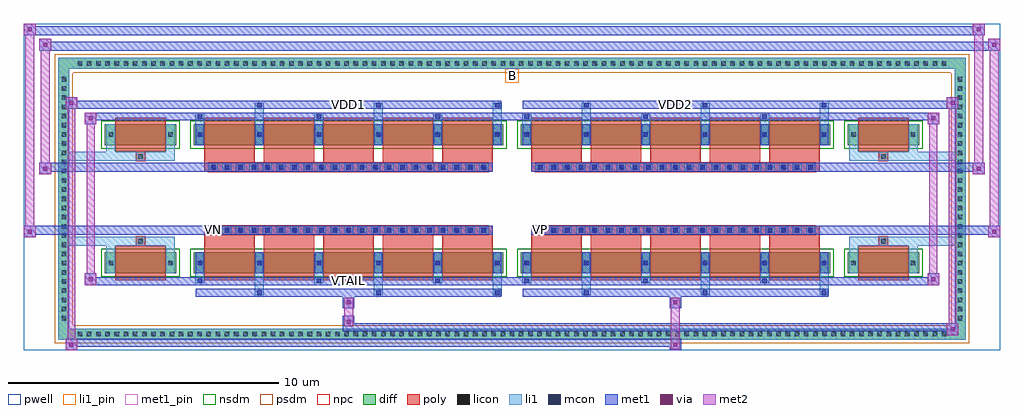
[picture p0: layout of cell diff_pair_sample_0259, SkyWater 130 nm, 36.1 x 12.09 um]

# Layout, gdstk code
import gdstk
lib = gdstk.Library(unit=1e-6, precision=5e-09)
def R(c, l, rs):  # rectangles x0, y0, x1, y1
    for r in rs: c.add(gdstk.rectangle(r[:2], r[2:], *l))
def A(c, l, x, y, w, h, nx, ny, dx, dy):  # array of equal rectangles
    R(c, l, [(x+i*dx, y+j*dy, x+i*dx+w, y+j*dy+h) for i in range(nx) for j in range(ny)])
def P(c, l, *ps):  # polygons
    for p in ps: c.add(gdstk.Polygon(p, *l))
pwell = (64, 44)
diff = (65, 20)
poly = (66, 20)
licon = (66, 44)
li1_pin = (67, 16)
li1 = (67, 20)
mcon = (67, 44)
met1_pin = (68, 16)
met1 = (68, 20)
via = (68, 44)
met2 = (69, 20)
nsdm = (93, 44)
psdm = (94, 20)
npc = (95, 20)

diff_pair_sample_0259 = lib.new_cell('diff_pair_sample_0259')
R(diff_pair_sample_0259, pwell, [(-18.05,-5.61,18.05,6.48), (-15.37,-3.8,-0.01,-0.8), (0.01,-3.8,15.37,-0.8), (-15.37,0.8,-0.01,3.8), (0.01,0.8,15.37,3.8)])
A(diff_pair_sample_0259, diff, -16.185, -5.21, 0.41, 0.41, 95, 2, 0.34, 10.01)
A(diff_pair_sample_0259, diff, -16.78, -4.625, 0.41, 0.41, 1, 27, 0, 0.34)
A(diff_pair_sample_0259, diff, 16.37, -4.625, 0.41, 0.41, 1, 27, 0, 0.34)
R(diff_pair_sample_0259, diff, [(-16.185,-5.21,16.185,-4.8), (-16.78,-4.625,-16.37,4.625), (16.37,-4.625,16.78,4.625), (-15.06,-2.755,-12.41,-1.985), (-11.77,-2.755,-0.32,-1.985), (0.32,-2.755,11.77,-1.985), (12.41,-2.755,15.06,-1.985), (-15.06,1.985,-12.41,2.755), (-11.77,1.985,-0.32,2.755), (0.32,1.985,11.77,2.755), (12.41,1.985,15.06,2.755), (-16.185,4.8,16.185,5.21)])
P(diff_pair_sample_0259, diff, [(16.78,5.21),(-16.78,5.21),(-16.78,-4.8),(-16.37,-4.8),(-16.37,4.8),(16.37,4.8),(16.37,-4.8),(-16.37,-4.8),(-16.78,-4.8),(-16.78,-5.21),(16.78,-5.21)])
A(diff_pair_sample_0259, poly, -11.38, -3.005, 1.87, 1.27, 5, 2, 2.2, 4.74)
A(diff_pair_sample_0259, poly, 0.71, -3.005, 1.87, 1.27, 5, 2, 2.2, 4.74)
A(diff_pair_sample_0259, poly, -11.38, -1.735, 1.87, 0.405, 5, 2, 2.2, 3.065)
A(diff_pair_sample_0259, poly, 0.71, -1.735, 1.87, 0.405, 5, 2, 2.2, 3.065)
A(diff_pair_sample_0259, poly, -11.21, -1.33, 0.33, 0.33, 21, 2, 0.5, 2.33)
A(diff_pair_sample_0259, poly, 0.88, -1.33, 0.33, 0.33, 21, 2, 0.5, 2.33)
R(diff_pair_sample_0259, poly, [(-14.67,-3.005,-12.8,-1.735), (12.8,-3.005,14.67,-1.735), (-13.9,-1.735,-13.57,-1.405), (-13.9,-1.735,-13.57,-1.405), (13.57,-1.735,13.9,-1.405), (13.57,-1.735,13.9,-1.405), (-11.38,-1.33,-0.71,-1), (0.71,-1.33,11.38,-1), (-11.38,1,-0.71,1.33), (0.71,1,11.38,1.33), (-13.9,1.405,-13.57,1.735), (-13.9,1.405,-13.57,1.735), (13.57,1.405,13.9,1.735), (13.57,1.405,13.9,1.735), (-14.67,1.735,-12.8,3.005), (12.8,1.735,14.67,3.005)])
A(diff_pair_sample_0259, licon, -16.065, -5.09, 0.17, 0.17, 95, 2, 0.34, 10.01)
A(diff_pair_sample_0259, licon, -16.66, -4.505, 0.17, 0.17, 1, 27, 0, 0.34)
A(diff_pair_sample_0259, licon, 16.49, -4.505, 0.17, 0.17, 1, 27, 0, 0.34)
A(diff_pair_sample_0259, licon, -11.63, -2.455, 0.17, 0.17, 6, 2, 2.2, 4.74)
A(diff_pair_sample_0259, licon, 0.46, -2.455, 0.17, 0.17, 6, 2, 2.2, 4.74)
A(diff_pair_sample_0259, licon, -11.13, -1.25, 0.17, 0.17, 21, 2, 0.5, 2.33)
A(diff_pair_sample_0259, licon, 0.96, -1.25, 0.17, 0.17, 21, 2, 0.5, 2.33)
R(diff_pair_sample_0259, licon, [(-14.92,-2.455,-14.75,-2.285), (-12.72,-2.455,-12.55,-2.285), (12.55,-2.455,12.72,-2.285), (14.75,-2.455,14.92,-2.285), (-13.82,-1.655,-13.65,-1.485), (13.65,-1.655,13.82,-1.485), (-13.82,1.485,-13.65,1.655), (13.65,1.485,13.82,1.655), (-14.92,2.285,-14.75,2.455), (-12.72,2.285,-12.55,2.455), (12.55,2.285,12.72,2.455), (14.75,2.285,14.92,2.455)])
R(diff_pair_sample_0259, li1_pin, [(-0.25,4.3,0.25,4.8)])
A(diff_pair_sample_0259, li1, -16.145, -5.17, 0.33, 0.33, 95, 2, 0.34, 10.01)
A(diff_pair_sample_0259, li1, -16.74, -4.585, 0.33, 0.33, 1, 27, 0, 0.34)
A(diff_pair_sample_0259, li1, 16.41, -4.585, 0.33, 0.33, 1, 27, 0, 0.34)
A(diff_pair_sample_0259, li1, -9.51, -3.56, 0.33, 0.805, 3, 2, 4.4, 6.315)
A(diff_pair_sample_0259, li1, -9.43, -3.56, 0.17, 0.17, 3, 2, 4.4, 6.95)
A(diff_pair_sample_0259, li1, 2.58, -3.56, 0.33, 0.805, 3, 2, 4.4, 6.315)
A(diff_pair_sample_0259, li1, 2.66, -3.56, 0.17, 0.17, 3, 2, 4.4, 6.95)
A(diff_pair_sample_0259, li1, -11.71, -3.13, 0.33, 0.375, 3, 2, 4.4, 5.885)
A(diff_pair_sample_0259, li1, -11.63, -3.13, 0.17, 0.17, 3, 2, 4.4, 6.09)
A(diff_pair_sample_0259, li1, 0.38, -3.13, 0.33, 0.375, 3, 2, 4.4, 5.885)
A(diff_pair_sample_0259, li1, 0.46, -3.13, 0.17, 0.17, 3, 2, 4.4, 6.09)
A(diff_pair_sample_0259, li1, -11.71, -2.755, 0.33, 0.77, 6, 2, 2.2, 4.74)
A(diff_pair_sample_0259, li1, 0.38, -2.755, 0.33, 0.77, 6, 2, 2.2, 4.74)
A(diff_pair_sample_0259, li1, -11.71, -2.535, 0.33, 0.33, 6, 2, 2.2, 4.74)
A(diff_pair_sample_0259, li1, 0.38, -2.535, 0.33, 0.33, 6, 2, 2.2, 4.74)
A(diff_pair_sample_0259, li1, -11.21, -1.33, 0.33, 0.33, 21, 2, 0.5, 2.33)
A(diff_pair_sample_0259, li1, 0.88, -1.33, 0.33, 0.33, 21, 2, 0.5, 2.33)
R(diff_pair_sample_0259, li1, [(-16.78,-5.21,-16.37,-4.8), (-16.78,-5.21,-16.37,-4.8), (-16.37,-5.21,16.37,-4.8), (16.37,-5.21,16.78,-4.8), (16.37,-5.21,16.78,-4.8), (-16.78,-4.8,-16.37,4.8), (16.37,-4.8,16.78,4.8), (-15,-2.755,-14.67,-1.985), (-12.8,-2.755,-12.47,-1.985), (12.47,-2.755,12.8,-1.985), (14.67,-2.755,15,-1.985), (-15,-2.535,-14.67,-2.205), (-12.8,-2.535,-12.47,-2.205), (12.47,-2.535,12.8,-2.205), (14.67,-2.535,15,-2.205), (-11.63,-2.455,-11.46,-2.285), (-11.63,-2.455,-11.46,-2.285), (-9.43,-2.455,-9.26,-2.285), (-9.43,-2.455,-9.26,-2.285), (-7.23,-2.455,-7.06,-2.285), (-7.23,-2.455,-7.06,-2.285), (-5.03,-2.455,-4.86,-2.285), (-5.03,-2.455,-4.86,-2.285), (-2.83,-2.455,-2.66,-2.285), (-2.83,-2.455,-2.66,-2.285), (-0.63,-2.455,-0.46,-2.285), (-0.63,-2.455,-0.46,-2.285), (0.46,-2.455,0.63,-2.285), (0.46,-2.455,0.63,-2.285), (2.66,-2.455,2.83,-2.285), (2.66,-2.455,2.83,-2.285), (4.86,-2.455,5.03,-2.285), (4.86,-2.455,5.03,-2.285), (7.06,-2.455,7.23,-2.285), (7.06,-2.455,7.23,-2.285), (9.26,-2.455,9.43,-2.285), (9.26,-2.455,9.43,-2.285), (11.46,-2.455,11.63,-2.285), (11.46,-2.455,11.63,-2.285), (-15,-1.985,-14.67,-1.405), (-12.8,-1.985,-12.47,-1.405), (12.47,-1.985,12.8,-1.405), (14.67,-1.985,15,-1.405), (-16.78,-1.735,-13.9,-1.405), (-15,-1.735,-13.9,-1.405), (-13.9,-1.735,-13.57,-1.405), (-13.57,-1.735,-12.47,-1.405), (12.47,-1.735,13.57,-1.405), (13.57,-1.735,13.9,-1.405), (13.57,-1.735,16.78,-1.405), (13.9,-1.735,15,-1.405), (-16.78,1.405,-13.9,1.735), (-15,1.405,-13.9,1.735), (-15,1.405,-14.67,1.985), (-13.9,1.405,-13.57,1.735), (-13.57,1.405,-12.47,1.735), (-12.8,1.405,-12.47,1.985), (12.47,1.405,13.57,1.735), (12.47,1.405,12.8,1.985), (13.57,1.405,13.9,1.735), (13.57,1.405,16.78,1.735), (13.9,1.405,15,1.735), (14.67,1.405,15,1.985), (-15,1.985,-14.67,2.755), (-12.8,1.985,-12.47,2.755), (12.47,1.985,12.8,2.755), (14.67,1.985,15,2.755), (-15,2.205,-14.67,2.535), (-12.8,2.205,-12.47,2.535), (12.47,2.205,12.8,2.535), (14.67,2.205,15,2.535), (-11.63,2.285,-11.46,2.455), (-11.63,2.285,-11.46,2.455), (-9.43,2.285,-9.26,2.455), (-9.43,2.285,-9.26,2.455), (-7.23,2.285,-7.06,2.455), (-7.23,2.285,-7.06,2.455), (-5.03,2.285,-4.86,2.455), (-5.03,2.285,-4.86,2.455), (-2.83,2.285,-2.66,2.455), (-2.83,2.285,-2.66,2.455), (-0.63,2.285,-0.46,2.455), (-0.63,2.285,-0.46,2.455), (0.46,2.285,0.63,2.455), (0.46,2.285,0.63,2.455), (2.66,2.285,2.83,2.455), (2.66,2.285,2.83,2.455), (4.86,2.285,5.03,2.455), (4.86,2.285,5.03,2.455), (7.06,2.285,7.23,2.455), (7.06,2.285,7.23,2.455), (9.26,2.285,9.43,2.455), (9.26,2.285,9.43,2.455), (11.46,2.285,11.63,2.455), (11.46,2.285,11.63,2.455), (-16.78,4.8,-16.37,5.21), (-16.78,4.8,-16.37,5.21), (-16.37,4.8,16.37,5.21), (16.37,4.8,16.78,5.21), (16.37,4.8,16.78,5.21)])
A(diff_pair_sample_0259, mcon, -9.43, -3.56, 0.17, 0.17, 3, 2, 4.4, 6.95)
A(diff_pair_sample_0259, mcon, 2.66, -3.56, 0.17, 0.17, 3, 2, 4.4, 6.95)
A(diff_pair_sample_0259, mcon, -11.63, -3.13, 0.17, 0.17, 3, 2, 4.4, 6.09)
A(diff_pair_sample_0259, mcon, 0.46, -3.13, 0.17, 0.17, 3, 2, 4.4, 6.09)
A(diff_pair_sample_0259, mcon, -11.63, -2.455, 0.17, 0.17, 6, 2, 2.2, 4.74)
A(diff_pair_sample_0259, mcon, 0.46, -2.455, 0.17, 0.17, 6, 2, 2.2, 4.74)
A(diff_pair_sample_0259, mcon, -11.13, -1.25, 0.17, 0.17, 21, 2, 0.5, 2.33)
A(diff_pair_sample_0259, mcon, 0.96, -1.25, 0.17, 0.17, 21, 2, 0.5, 2.33)
R(diff_pair_sample_0259, met1_pin, [(-6.18,-3.17,-5.91,-2.9), (-11.18,-1.29,-10.91,-1.02), (0.91,-1.29,1.18,-1.02), (-6.18,3.35,-5.91,3.62), (5.91,3.35,6.18,3.62)])
A(diff_pair_sample_0259, met1, -9.49, -3.62, 0.29, 0.29, 3, 2, 4.4, 6.95)
A(diff_pair_sample_0259, met1, 2.6, -3.62, 0.29, 0.29, 3, 2, 4.4, 6.95)
A(diff_pair_sample_0259, met1, -11.69, -3.19, 0.29, 0.29, 3, 2, 4.4, 6.09)
A(diff_pair_sample_0259, met1, 0.4, -3.19, 0.29, 0.29, 3, 2, 4.4, 6.09)
A(diff_pair_sample_0259, met1, -11.69, -2.755, 0.29, 0.77, 6, 2, 2.2, 4.74)
A(diff_pair_sample_0259, met1, 0.4, -2.755, 0.29, 0.77, 6, 2, 2.2, 4.74)
A(diff_pair_sample_0259, met1, -11.69, -2.515, 0.29, 0.29, 6, 2, 2.2, 4.74)
A(diff_pair_sample_0259, met1, 0.4, -2.515, 0.29, 0.29, 6, 2, 2.2, 4.74)
A(diff_pair_sample_0259, met1, -11.19, -1.31, 0.29, 0.29, 21, 2, 0.5, 2.33)
A(diff_pair_sample_0259, met1, 0.9, -1.31, 0.29, 0.29, 21, 2, 0.5, 2.33)
R(diff_pair_sample_0259, met1, [(-16.51,-5.61,-16.08,-5.18), (5.83,-5.61,6.26,-5.18), (-16.51,-5.47,6.26,-5.18), (16.08,-5.04,16.51,-4.61), (-6.26,-4.9,16.51,-4.61), (-6.26,-4.76,-5.83,-4.33), (-6.26,-4.05,-5.83,-3.62), (5.83,-4.05,6.26,-3.62), (-11.69,-3.62,-0.4,-3.33), (0.4,-3.62,11.69,-3.33), (-15.8,-3.19,-15.37,-2.76), (-15.8,-3.19,-11.69,-2.9), (-11.69,-3.19,-0.4,-2.9), (-0.4,-3.19,0.4,-2.9), (0.4,-3.19,11.69,-2.9), (11.69,-3.19,15.8,-2.9), (15.37,-3.19,15.8,-2.76), (-18.05,-1.43,-17.62,-1), (17.62,-1.43,18.05,-1), (-18.05,-1.33,-0.71,-1), (-11.38,-1.33,-0.71,-1), (0.71,-1.33,11.38,-1), (0.71,-1.33,18.05,-1), (-17.48,0.9,-17.05,1.33), (17.05,0.9,17.48,1.33), (-17.48,1,-11.38,1.33), (-11.38,1,-0.71,1.33), (0.71,1,11.38,1.33), (11.38,1,17.48,1.33), (-15.8,2.76,-15.37,3.19), (15.37,2.76,15.8,3.19), (-15.8,2.9,-11.69,3.19), (-11.69,2.9,-0.4,3.19), (-0.4,2.9,0.4,3.19), (0.4,2.9,11.69,3.19), (11.69,2.9,15.8,3.19), (-16.51,3.33,-16.08,3.76), (-16.51,3.33,-11.69,3.62), (-11.69,3.33,-0.4,3.62), (0.4,3.33,11.69,3.62), (11.69,3.33,16.51,3.62), (16.08,3.33,16.51,3.76), (-17.48,5.48,-17.05,5.91), (-17.48,5.48,-15.37,5.81), (-15.37,5.48,15.37,5.81), (15.37,5.48,18.05,5.81), (17.62,5.48,18.05,5.91), (-18.05,6.05,-17.62,6.48), (-18.05,6.05,-15.37,6.38), (-15.37,6.05,15.37,6.38), (15.37,6.05,17.48,6.38), (17.05,6.05,17.48,6.48)])
R(diff_pair_sample_0259, via, [(-16.37,-5.47,-16.22,-5.32), (5.97,-5.47,6.12,-5.32), (16.22,-4.9,16.37,-4.75), (-6.12,-4.62,-5.97,-4.47), (-6.12,-3.91,-5.97,-3.76), (5.97,-3.91,6.12,-3.76), (-15.66,-3.05,-15.51,-2.9), (15.51,-3.05,15.66,-2.9), (-17.91,-1.29,-17.76,-1.14), (17.76,-1.29,17.91,-1.14), (-17.34,1.04,-17.19,1.19), (17.19,1.04,17.34,1.19), (-15.66,2.9,-15.51,3.05), (15.51,2.9,15.66,3.05), (-16.37,3.47,-16.22,3.62), (16.22,3.47,16.37,3.62), (-17.34,5.62,-17.19,5.77), (17.76,5.62,17.91,5.77), (-17.91,6.19,-17.76,6.34), (17.19,6.19,17.34,6.34)])
R(diff_pair_sample_0259, met2, [(-16.51,-5.61,-16.08,-5.18), (-16.44,-5.61,-16.15,3.76), (-16.15,-5.61,-16.08,-5.18), (-16.46,-5.56,-16.13,-5.23), (5.88,-5.56,6.21,-5.23), (5.88,-5.23,6.21,-4), (16.08,-5.04,16.51,-4.61), (16.15,-5.04,16.44,3.76), (16.44,-5.04,16.51,-4.61), (16.13,-4.99,16.46,-4.66), (-6.21,-4.71,-5.88,-4.38), (-6.21,-4.38,-5.88,-4), (-6.21,-4,-5.88,-3.67), (5.88,-4,6.21,-3.67), (-15.8,-3.19,-15.37,-2.76), (-15.73,-3.19,-15.44,3.19), (-15.44,-3.19,-15.37,-2.76), (15.37,-3.19,15.8,-2.76), (15.44,-3.19,15.73,3.19), (15.73,-3.19,15.8,-2.76), (-15.75,-3.14,-15.42,-2.81), (15.42,-3.14,15.75,-2.81), (-18.05,-1.43,-17.62,-1), (-18,-1.43,-17.67,6.48), (-17.67,-1.43,-17.62,-1), (17.62,-1.43,18.05,-1), (17.67,-1.43,18,5.91), (18,-1.43,18.05,-1), (-18,-1.38,-17.67,-1.05), (17.67,-1.38,18,-1.05), (-17.48,0.9,-17.05,1.33), (-17.43,0.9,-17.1,5.91), (-17.1,0.9,-17.05,1.33), (17.05,0.9,17.48,1.33), (17.1,0.9,17.43,6.48), (17.43,0.9,17.48,1.33), (-17.43,0.95,-17.1,1.28), (17.1,0.95,17.43,1.28), (-15.8,2.76,-15.37,3.19), (-15.44,2.76,-15.37,3.19), (15.37,2.76,15.8,3.19), (15.73,2.76,15.8,3.19), (-15.75,2.81,-15.42,3.14), (15.42,2.81,15.75,3.14), (-16.51,3.33,-16.08,3.76), (-16.15,3.33,-16.08,3.76), (16.08,3.33,16.51,3.76), (16.44,3.33,16.51,3.76), (-16.46,3.38,-16.13,3.71), (16.13,3.38,16.46,3.71), (-17.48,5.48,-17.05,5.91), (-17.1,5.48,-17.05,5.91), (17.62,5.48,18.05,5.91), (18,5.48,18.05,5.91), (-17.43,5.53,-17.1,5.86), (17.67,5.53,18,5.86), (-18.05,6.05,-17.62,6.48), (-17.67,6.05,-17.62,6.48), (17.05,6.05,17.48,6.48), (17.43,6.05,17.48,6.48), (-18,6.1,-17.67,6.43), (17.1,6.1,17.43,6.43)])
R(diff_pair_sample_0259, nsdm, [(-15.19,-2.885,-12.28,-1.855), (-11.9,-2.885,-0.19,-1.855), (0.19,-2.885,11.9,-1.855), (12.28,-2.885,15.19,-1.855), (-15.19,1.855,-12.28,2.885), (-11.9,1.855,-0.19,2.885), (0.19,1.855,11.9,2.885), (12.28,1.855,15.19,2.885)])
P(diff_pair_sample_0259, psdm, [(16.91,5.34),(-16.91,5.34),(-16.91,-4.67),(-16.24,-4.67),(-16.24,4.67),(16.24,4.67),(16.24,-4.67),(-16.24,-4.67),(-16.91,-4.67),(-16.91,-5.34),(16.91,-5.34)])
A(diff_pair_sample_0259, npc, -11.23, -1.35, 0.37, 0.37, 21, 2, 0.5, 2.33)
A(diff_pair_sample_0259, npc, 0.86, -1.35, 0.37, 0.37, 21, 2, 0.5, 2.33)
R(diff_pair_sample_0259, npc, [(-13.92,-1.755,-13.55,-1.385), (13.55,-1.755,13.92,-1.385), (-11.23,-1.35,-10.36,-0.98), (-11.23,-1.35,-10.36,-0.98), (-10.73,-1.35,-9.86,-0.98), (-10.73,-1.35,-9.86,-0.98), (-10.23,-1.35,-9.36,-0.98), (-10.23,-1.35,-9.36,-0.98), (-9.73,-1.35,-8.86,-0.98), (-9.73,-1.35,-8.86,-0.98), (-9.23,-1.35,-8.36,-0.98), (-9.23,-1.35,-8.36,-0.98), (-8.73,-1.35,-7.86,-0.98), (-8.73,-1.35,-7.86,-0.98), (-8.23,-1.35,-7.36,-0.98), (-8.23,-1.35,-7.36,-0.98), (-7.73,-1.35,-6.86,-0.98), (-7.73,-1.35,-6.86,-0.98), (-7.23,-1.35,-6.36,-0.98), (-7.23,-1.35,-6.36,-0.98), (-6.73,-1.35,-5.86,-0.98), (-6.73,-1.35,-5.86,-0.98), (-6.23,-1.35,-5.36,-0.98), (-6.23,-1.35,-5.36,-0.98), (-5.73,-1.35,-4.86,-0.98), (-5.73,-1.35,-4.86,-0.98), (-5.23,-1.35,-4.36,-0.98), (-5.23,-1.35,-4.36,-0.98), (-4.73,-1.35,-3.86,-0.98), (-4.73,-1.35,-3.86,-0.98), (-4.23,-1.35,-3.36,-0.98), (-4.23,-1.35,-3.36,-0.98), (-3.73,-1.35,-2.86,-0.98), (-3.73,-1.35,-2.86,-0.98), (-3.23,-1.35,-2.36,-0.98), (-3.23,-1.35,-2.36,-0.98), (-2.73,-1.35,-1.86,-0.98), (-2.73,-1.35,-1.86,-0.98), (-2.23,-1.35,-1.36,-0.98), (-2.23,-1.35,-1.36,-0.98), (-1.73,-1.35,-0.86,-0.98), (-1.73,-1.35,-0.86,-0.98), (0.86,-1.35,1.73,-0.98), (0.86,-1.35,1.73,-0.98), (1.36,-1.35,2.23,-0.98), (1.36,-1.35,2.23,-0.98), (1.86,-1.35,2.73,-0.98), (1.86,-1.35,2.73,-0.98), (2.36,-1.35,3.23,-0.98), (2.36,-1.35,3.23,-0.98), (2.86,-1.35,3.73,-0.98), (2.86,-1.35,3.73,-0.98), (3.36,-1.35,4.23,-0.98), (3.36,-1.35,4.23,-0.98), (3.86,-1.35,4.73,-0.98), (3.86,-1.35,4.73,-0.98), (4.36,-1.35,5.23,-0.98), (4.36,-1.35,5.23,-0.98), (4.86,-1.35,5.73,-0.98), (4.86,-1.35,5.73,-0.98), (5.36,-1.35,6.23,-0.98), (5.36,-1.35,6.23,-0.98), (5.86,-1.35,6.73,-0.98), (5.86,-1.35,6.73,-0.98), (6.36,-1.35,7.23,-0.98), (6.36,-1.35,7.23,-0.98), (6.86,-1.35,7.73,-0.98), (6.86,-1.35,7.73,-0.98), (7.36,-1.35,8.23,-0.98), (7.36,-1.35,8.23,-0.98), (7.86,-1.35,8.73,-0.98), (7.86,-1.35,8.73,-0.98), (8.36,-1.35,9.23,-0.98), (8.36,-1.35,9.23,-0.98), (8.86,-1.35,9.73,-0.98), (8.86,-1.35,9.73,-0.98), (9.36,-1.35,10.23,-0.98), (9.36,-1.35,10.23,-0.98), (9.86,-1.35,10.73,-0.98), (9.86,-1.35,10.73,-0.98), (10.36,-1.35,11.23,-0.98), (10.36,-1.35,11.23,-0.98), (-11.23,0.98,-10.36,1.35), (-11.23,0.98,-10.36,1.35), (-10.73,0.98,-9.86,1.35), (-10.73,0.98,-9.86,1.35), (-10.23,0.98,-9.36,1.35), (-10.23,0.98,-9.36,1.35), (-9.73,0.98,-8.86,1.35), (-9.73,0.98,-8.86,1.35), (-9.23,0.98,-8.36,1.35), (-9.23,0.98,-8.36,1.35), (-8.73,0.98,-7.86,1.35), (-8.73,0.98,-7.86,1.35), (-8.23,0.98,-7.36,1.35), (-8.23,0.98,-7.36,1.35), (-7.73,0.98,-6.86,1.35), (-7.73,0.98,-6.86,1.35), (-7.23,0.98,-6.36,1.35), (-7.23,0.98,-6.36,1.35), (-6.73,0.98,-5.86,1.35), (-6.73,0.98,-5.86,1.35), (-6.23,0.98,-5.36,1.35), (-6.23,0.98,-5.36,1.35), (-5.73,0.98,-4.86,1.35), (-5.73,0.98,-4.86,1.35), (-5.23,0.98,-4.36,1.35), (-5.23,0.98,-4.36,1.35), (-4.73,0.98,-3.86,1.35), (-4.73,0.98,-3.86,1.35), (-4.23,0.98,-3.36,1.35), (-4.23,0.98,-3.36,1.35), (-3.73,0.98,-2.86,1.35), (-3.73,0.98,-2.86,1.35), (-3.23,0.98,-2.36,1.35), (-3.23,0.98,-2.36,1.35), (-2.73,0.98,-1.86,1.35), (-2.73,0.98,-1.86,1.35), (-2.23,0.98,-1.36,1.35), (-2.23,0.98,-1.36,1.35), (-1.73,0.98,-0.86,1.35), (-1.73,0.98,-0.86,1.35), (0.86,0.98,1.73,1.35), (0.86,0.98,1.73,1.35), (1.36,0.98,2.23,1.35), (1.36,0.98,2.23,1.35), (1.86,0.98,2.73,1.35), (1.86,0.98,2.73,1.35), (2.36,0.98,3.23,1.35), (2.36,0.98,3.23,1.35), (2.86,0.98,3.73,1.35), (2.86,0.98,3.73,1.35), (3.36,0.98,4.23,1.35), (3.36,0.98,4.23,1.35), (3.86,0.98,4.73,1.35), (3.86,0.98,4.73,1.35), (4.36,0.98,5.23,1.35), (4.36,0.98,5.23,1.35), (4.86,0.98,5.73,1.35), (4.86,0.98,5.73,1.35), (5.36,0.98,6.23,1.35), (5.36,0.98,6.23,1.35), (5.86,0.98,6.73,1.35), (5.86,0.98,6.73,1.35), (6.36,0.98,7.23,1.35), (6.36,0.98,7.23,1.35), (6.86,0.98,7.73,1.35), (6.86,0.98,7.73,1.35), (7.36,0.98,8.23,1.35), (7.36,0.98,8.23,1.35), (7.86,0.98,8.73,1.35), (7.86,0.98,8.73,1.35), (8.36,0.98,9.23,1.35), (8.36,0.98,9.23,1.35), (8.86,0.98,9.73,1.35), (8.86,0.98,9.73,1.35), (9.36,0.98,10.23,1.35), (9.36,0.98,10.23,1.35), (9.86,0.98,10.73,1.35), (9.86,0.98,10.73,1.35), (10.36,0.98,11.23,1.35), (10.36,0.98,11.23,1.35), (-13.92,1.385,-13.55,1.755), (13.55,1.385,13.92,1.755)])
diff_pair_sample_0259.add(gdstk.Label('VTAIL', (-6.045,-3.035), layer=68, texttype=5))
diff_pair_sample_0259.add(gdstk.Label('VN', (-11.045,-1.155), layer=68, texttype=5))
diff_pair_sample_0259.add(gdstk.Label('VP', (1.045,-1.155), layer=68, texttype=5))
diff_pair_sample_0259.add(gdstk.Label('B', (0,4.55), layer=67, texttype=5))
diff_pair_sample_0259.add(gdstk.Label('VDD2', (6.045,3.485), layer=68, texttype=5))
diff_pair_sample_0259.add(gdstk.Label('VDD1', (-6.045,3.485), layer=68, texttype=5))

lib.write_gds('diff_pair_sample_0259.gds')
